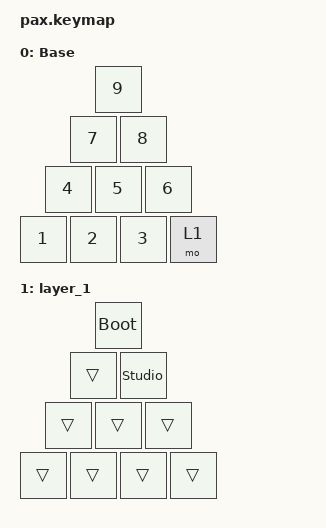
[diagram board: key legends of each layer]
#include <behaviors.dtsi>
#include <dt-bindings/zmk/keys.h>

/ {
    keymap {
        compatible = "zmk,keymap";

        default_layer {
            display-name = "Base";
            bindings = <
&kp N9
&kp N8  &kp N7
&kp N6  &kp N4  &kp N5
&kp N3  &mo 1  &kp N1  &kp N2
            >;
        };

        layer_1 {
            bindings = <
&bootloader
&studio_unlock      &trans
&trans       &trans  &trans
&trans       &trans  &trans  &trans
            >;
        };
    };
};
